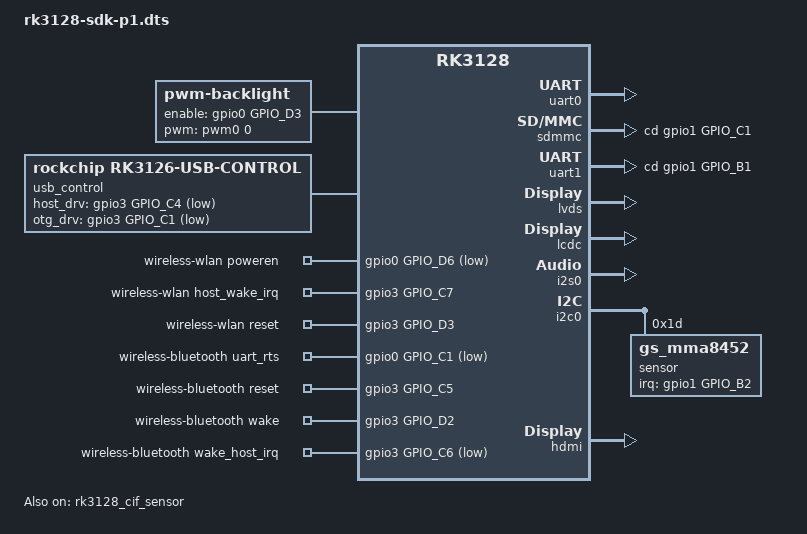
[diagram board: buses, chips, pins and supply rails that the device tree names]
/dts-v1/;

#include "rk3128.dtsi"
#include "rk3128-cif-sensor.dtsi"
#include "vtl_ts_362.dtsi"
#include "rk312x-sdk.dtsi"
#include "lcd-sofia-3gr-svb.dtsi"

/ {
	 compatible = "rockchip,rk3128";
        backlight: backlight {
                compatible = "pwm-backlight";
                pwms = <&pwm0 0 25000>;
                brightness-levels = <
		     255 253 252 251 250 249 248 247 246 245 244 243 242 241 240 
		     239 238 237 236 235 234 233 232 231 230 229 228 227 226 225 224 223 222 221 220
		     219 218 217 216 215 214 213 212 211 210 209 208 207 206 205 204 203 202 201 200 
		     199 198 197 196 195 194 193 192 191 190 189 188 187 186 185 184 183 182 181 180
		     179 178 177 176 175 174 173 172 171 170 169 168 167 166 165 164 163 162 161 160
		     159 158 157 156 155 154 153 152 151 150 149 148 147 146 145 144 143 142 141 140
		     139 138 137 136 135 134 133 132 131 130 129 128 127 126 125 124 123 122 121 120
		     119 118 117 116 115 114 113 112 111 110 109 108 107 106 105 104 103 102 101 100
		     99 98 97 96 95 94 93 92 91 90 89 88 87 86 85 84 83 82 81 80 79 78 77 76 75 74 73 72 71 70
		     69 68 67 66 65 64 63 62 61 60 59 58 57 56 55 54 53 52 51 50 49 48 47 46 45 44 43 42 41 40
		     39 38 37 36 35 34 33 32 31 30 29 28 27 26 25 24 23 22 21 20 19 18 17 16 15 14 13 12 11 10
		     9 8 7 6 5 4 3 2 1 0>;
                default-brightness-level = <128>;
                enable-gpios = <&gpio0 GPIO_D3 GPIO_ACTIVE_HIGH>;
        };

	usb_control {
		compatible = "rockchip,rk3126-usb-control";

		host_drv_gpio = <&gpio3 GPIO_C4 GPIO_ACTIVE_LOW>;
		otg_drv_gpio = <&gpio3 GPIO_C1 GPIO_ACTIVE_LOW>;

		rockchip,remote_wakeup;
		rockchip,usb_irq_wakeup;
	};
	
	
    wireless-wlan {
        compatible = "wlan-platdata";

        wifi_chip_type = "bcmwif";
        sdio_vref = <1800>; //1800mv or 3300mv

        //power_ctrl_by_pmu;
        pmu_regulator = "act_ldo3";
        pmu_enable_level = <1>; //1->HIGH, 0->LOW	

        WIFI,poweren_gpio = <&gpio0 GPIO_D6 GPIO_ACTIVE_LOW>;
        WIFI,host_wake_irq = <&gpio3 GPIO_C7 GPIO_ACTIVE_HIGH>;
        WIFI,reset_gpio = <&gpio3 GPIO_D3 GPIO_ACTIVE_HIGH>;

        status = "okay";
    };

    wireless-bluetooth {
        compatible = "bluetooth-platdata";

        uart_rts_gpios = <&gpio0 GPIO_C1 GPIO_ACTIVE_LOW>;
        pinctrl-names = "default","rts_gpio";
        pinctrl-0 = <&uart0_rts>;
        pinctrl-1 = <&uart0_rts_gpio>;

        //BT,power_gpio = <&gpio4 GPIO_D3 GPIO_ACTIVE_HIGH>;
        BT,reset_gpio = <&gpio3 GPIO_C5 GPIO_ACTIVE_HIGH>;
        BT,wake_gpio = <&gpio3 GPIO_D2 GPIO_ACTIVE_HIGH>;
        BT,wake_host_irq = <&gpio3 GPIO_C6 GPIO_ACTIVE_LOW>;

        status = "okay";
    };

};
&uart0 {
        status = "okay";
        dma-names = "!tx", "!rx";
        pinctrl-0 = <&uart0_xfer &uart0_cts>;
};

&sdmmc {/* SDMMC_DET = GPIO1_C1 */
	cd-gpios = <&gpio1 GPIO_C1 GPIO_ACTIVE_HIGH>;/*CD GPIO*/
    status = "okay";
};

&uart1 {/* UART1 = GPIO1_B1 */
	cd-gpios = <&gpio1 GPIO_B1 GPIO_ACTIVE_HIGH>;/*CD GPIO*/
    status = "ok";
};

&fb {
	rockchip,disp-mode = <ONE_DUAL>;
	rockchip,uboot-logo-on = <1>;
};

&rk_screen {
	display-timings = <&disp_timings>;
};

&lvds {
	status = "okay";

	pinctrl-names = "lcdc";
	pinctrl-0 = <&lcdc0_lcdc_d>;
};

&lcdc {
	status = "okay";

	backlight = <&backlight>;
	pinctrl-names = "default", "gpio";
	pinctrl-0 = <&lcdc0_lcdc>;
	pinctrl-1 = <&lcdc0_gpio>;

	rockchip,fb-win-map = <FB_DEFAULT_ORDER>;
	power_ctr: power_ctr {
		rockchip,debug = <0>;
		lcd_cs: lcd_cs {
			rockchip,power_type = <GPIO>;
			gpios = <&gpio0 GPIO_D0 GPIO_ACTIVE_HIGH>;
			rockchip,delay = <10>;
		};
	};
};

&i2s0 {
	status = "okay";
};

&i2c0 {
	status = "okay";
	
	sensor@1d {
		compatible = "gs_mma8452";
		reg = <0x1d>;
		type = <SENSOR_TYPE_ACCEL>;
		//irq-gpio = <&gpio8 GPIO_A0 IRQ_TYPE_LEVEL_LOW>;
		irq-gpio = <&gpio1 GPIO_B2 IRQ_TYPE_LEVEL_LOW>;
		irq_enable = <1>;
		poll_delay_ms = <30>;
		layout = <1>;
	};
/*
	sensor@0d {
		compatible = "ak8975";
		reg = <0x0d>;
		type = <SENSOR_TYPE_COMPASS>;
		irq-gpio = <&gpio8 GPIO_A1 IRQ_TYPE_EDGE_RISING>;
		irq_enable = <1>;
		poll_delay_ms = <30>;
		layout = <1>;
	}; */
};

&hdmi {
        status = "okay";
};

&sdmmc {
       cd-gpios = <&gpio1 GPIO_C1 GPIO_ACTIVE_HIGH>;/*CD GPIO*/
};

&dwc_control_usb {
	usb_uart {
		status = "disable";
	};
};
&codec {
	spk_ctl_io = <&gpio1 GPIO_B3 GPIO_ACTIVE_HIGH>;
        spk-mute-delay = <200>;
        hp-mute-delay = <100>;
        rk312x_for_mid = <1>;
        is_rk3128 = <0>;
        spk_volume = <25>;
        hp_volume = <25>;
        capture_volume = <26>;
        gpio_debug = <1>;
        codec_hp_det = <1>;
};

&rk3128_cif_sensor{
	status = "okay";
};


&clk_core_dvfs_table {
	operating-points = <
		/* KHz    uV */
		216000 1000000/*925000*/
		408000 1025000/*925000*/
		600000 1050000/*950000*/
		696000 1075000/*975000*/
		816000 1100000/*1050000*/
		//1008000 1175000
		//1200000 1300000
		//1296000 1350000
		//1320000 1375000
		>;
	virt-temp-limit-1-cpu-busy = <
	/* target-temp	limit-freq */
		75	1008000
		85	1200000
		95	1200000
		100	1200000
		>;
	virt-temp-limit-2-cpu-busy = <
	/* target-temp	limit-freq */
		75	912000
		85	1008000
		95	1104000
		100	1200000
		>;
	virt-temp-limit-3-cpu-busy = <
	/* target-temp	limit-freq */
		75	816000
		85	912000
		95	100800
		100	110400
		>;
	virt-temp-limit-4-cpu-busy = <
	/* target-temp	limit-freq */
		75	816000
		85	912000
		95	100800
		100	110400
		>;
	temp-limit-enable = <0>/*<1>*/;
	target-temp = <85>;
	status="okay";
};

&clk_gpu_dvfs_table {
	operating-points = <
		/* KHz    uV */
		200000 950000
		300000 975000
		400000 1075000
		//480000 1175000
		>;
	status="okay";
};

&clk_ddr_dvfs_table {
	operating-points = <
		/* KHz    uV */
		//200000 950000
		//300000 950000
		400000 1000000
		//533000 1200000
		>;

	freq-table = <
		/*status		freq(KHz)*/
		SYS_STATUS_NORMAL	400000
		SYS_STATUS_SUSPEND	400000
		SYS_STATUS_VIDEO_1080P  400000
		SYS_STATUS_VIDEO_4K     400000
		SYS_STATUS_PERFORMANCE  400000
		SYS_STATUS_DUALVIEW	400000
		SYS_STATUS_BOOST	400000
		SYS_STATUS_ISP		400000
		>;
	auto-freq-table = <
		//240000
		//324000
		396000
		//528000
		>;
	auto-freq=<0>;
	status="okay";
};
